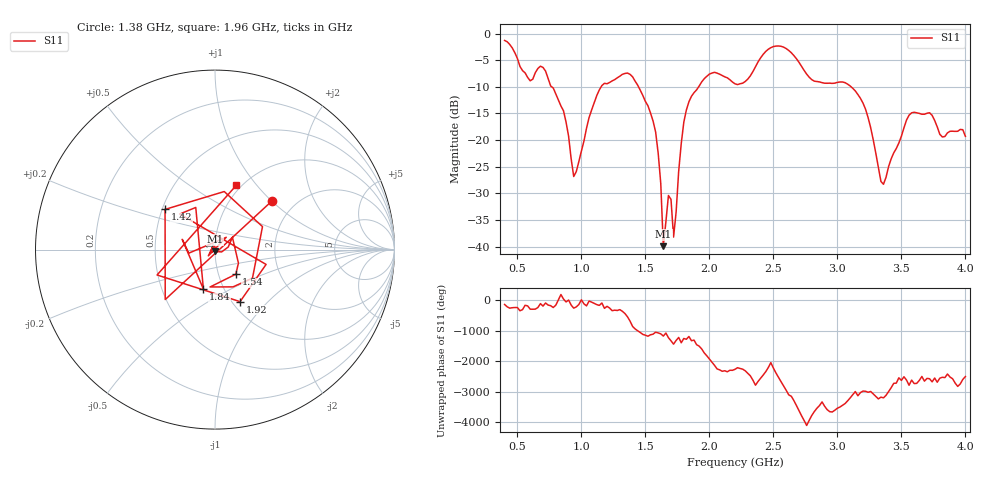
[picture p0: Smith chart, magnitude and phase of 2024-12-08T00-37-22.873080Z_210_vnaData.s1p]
!Created with skrf (http://scikit-rf.org).
# Hz S RI R 50.0
!freq ReS11 ImS11
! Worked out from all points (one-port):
!   181 points, 400 MHz to 4 GHz, reference 50 ohm
!   lowest |S11| = -39.9 dB at 1.64 GHz (marker M1), VSWR 1.02, Z = 49.9 - j1.01 ohm
!   |S11| at or under -10 dB: 768.7 MHz to 1.154 GHz (385.3 MHz wide, 40.1 % of centre); 1.447 GHz to 1.916 GHz (469.3 MHz wide, 27.9 % of centre); 3.108 GHz to end of sweep
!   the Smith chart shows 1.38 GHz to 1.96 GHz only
!   S11 on the Smith chart (normalised r, x): 1.38 GHz: 1.53, +1.00; 1.42 GHz: 0.52, +0.27; 1.54 GHz: 1.21, -0.34; 1.84 GHz: 0.80, -0.37; 1.92 GHz: 1.09, -0.70; 1.96 GHz: 0.95, +0.79
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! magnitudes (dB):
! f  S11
! 400 MHz  -1.3
! 600 MHz  -8.9
! 700 MHz  -6.4
! 860 MHz  -14.5
! 940 MHz  -26.8
! 1.14 GHz  -10.6
! 1.3 GHz  -8.0
! 1.38 GHz  -7.6
! 1.42 GHz  -8.9
! 1.54 GHz  -14.9
! 1.6 GHz  -22.5
! 1.62 GHz  -28.1
! 1.64 GHz  -39.9
! 1.68 GHz  -30.4
! 1.7 GHz  -31.1
! 1.72 GHz  -38.2
! 1.76 GHz  -25.9
! 1.84 GHz  -12.8
! 1.92 GHz  -9.8
! 1.96 GHz  -8.5
! 2.2 GHz  -9.4
! 2.48 GHz  -2.6
! 2.66 GHz  -4.1
! 3.1 GHz  -9.8
! 3.22 GHz  -14.2
! 3.36 GHz  -28.3
! 3.56 GHz  -15.3
! 4 GHz  -19.3
